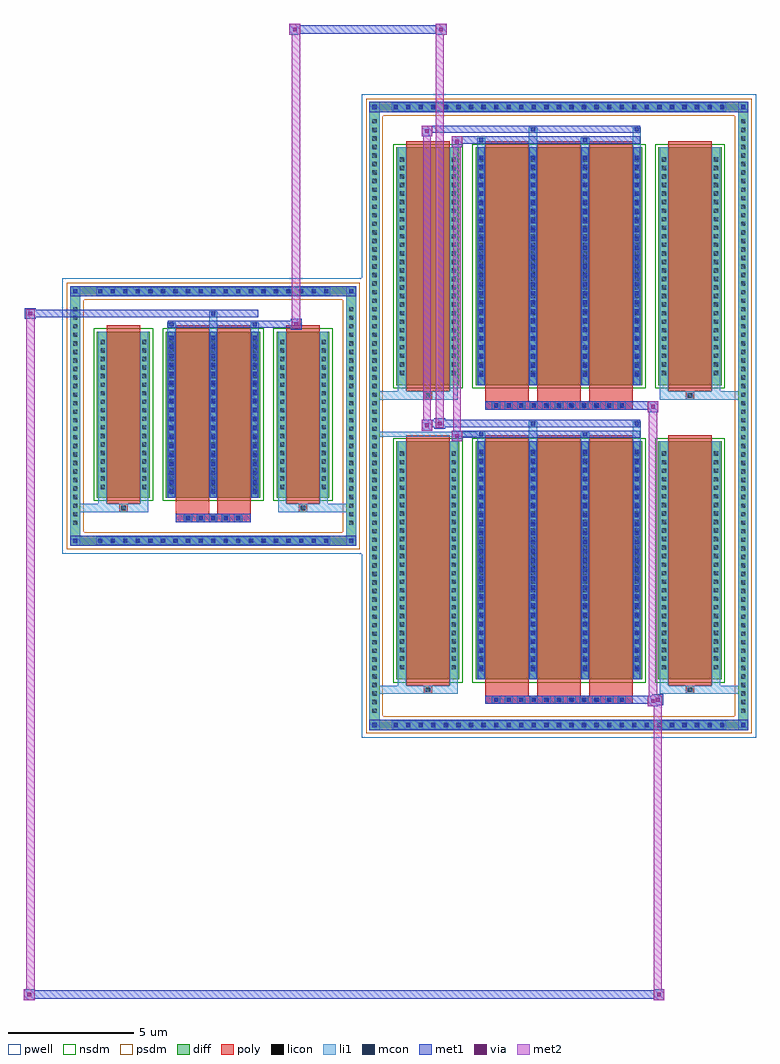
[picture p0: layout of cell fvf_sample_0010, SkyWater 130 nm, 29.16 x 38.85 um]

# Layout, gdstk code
import gdstk
lib = gdstk.Library(unit=1e-6, precision=1e-09)
def R(c, l, rs):  # rectangles x0, y0, x1, y1
    for r in rs: c.add(gdstk.rectangle(r[:2], r[2:], *l))
def A(c, l, x, y, w, h, nx, ny, dx, dy):  # array of equal rectangles
    R(c, l, [(x+i*dx, y+j*dy, x+i*dx+w, y+j*dy+h) for i in range(nx) for j in range(ny)])
def P(c, l, *ps):  # polygons
    for p in ps: c.add(gdstk.Polygon(p, *l))
pwell = (64, 44)
diff = (65, 20)
poly = (66, 20)
licon = (66, 44)
li1 = (67, 20)
mcon = (67, 44)
met1 = (68, 20)
via = (68, 44)
met2 = (69, 20)
nsdm = (93, 44)
psdm = (94, 20)

fvf_sample_0010 = lib.new_cell('fvf_sample_0010')
R(fvf_sample_0010, pwell, [(5.907,-12.812,21.619,12.812), (-6.007,-5.478,6.007,5.478)])
A(fvf_sample_0010, diff, 7.058, -12.502, 0.41, 0.41, 27, 2, 0.5, 24.594)
A(fvf_sample_0010, diff, 6.217, -11.935, 0.41, 0.41, 1, 70, 0, 0.34)
A(fvf_sample_0010, diff, 20.899, -11.935, 0.41, 0.41, 1, 70, 0, 0.34)
A(fvf_sample_0010, diff, -4.705, -5.168, 0.41, 0.41, 19, 2, 0.5, 9.926)
A(fvf_sample_0010, diff, -5.697, -4.455, 0.41, 0.41, 1, 26, 0, 0.34)
A(fvf_sample_0010, diff, 5.287, -4.455, 0.41, 0.41, 1, 26, 0, 0.34)
R(fvf_sample_0010, diff, [(7.058,-12.502,20.468,-12.092), (6.217,-11.935,6.627,11.935), (20.899,-11.935,21.309,11.935), (7.288,-10.481,9.802,-1.015), (10.442,-10.481,17.084,-1.015), (17.724,-10.481,20.238,-1.015), (-4.705,-5.168,4.705,-4.758), (-5.697,-4.455,-5.287,4.455), (5.287,-4.455,5.697,4.455), (-4.627,-3.247,-2.521,3.363), (-1.881,-3.247,1.881,3.363), (2.521,-3.247,4.627,3.363), (7.288,1.231,9.802,10.697), (10.442,1.231,17.084,10.697), (17.724,1.231,20.238,10.697), (-4.705,4.758,4.705,5.168), (7.058,12.092,20.468,12.502)])
P(fvf_sample_0010, diff, [(5.697,5.168),(-5.697,5.168),(-5.697,-4.758),(-5.287,-4.758),(-5.287,4.758),(5.287,4.758),(5.287,-4.758),(-5.287,-4.758),(-5.697,-4.758),(-5.697,-5.168),(5.697,-5.168)],
  [(21.309,12.502),(6.217,12.502),(6.217,-12.092),(6.627,-12.092),(6.627,12.092),(20.899,12.092),(20.899,-12.092),(6.627,-12.092),(6.217,-12.092),(6.217,-12.502),(21.309,-12.502)])
A(fvf_sample_0010, poly, 11.098, -11.462, 0.33, 0.33, 11, 2, 0.5, 11.712)
A(fvf_sample_0010, poly, 10.832, -11.132, 1.734, 0.401, 3, 2, 2.064, 11.712)
A(fvf_sample_0010, poly, 10.832, -10.731, 1.734, 9.966, 3, 2, 2.064, 11.712)
A(fvf_sample_0010, poly, -1.165, -4.228, 0.33, 0.33, 5, 1, 0.5, 0)
R(fvf_sample_0010, poly, [(10.832,-11.462,16.694,-11.132), (8.38,-11.061,8.71,-10.731), (8.38,-11.061,8.71,-10.731), (18.816,-11.061,19.146,-10.731), (18.816,-11.061,19.146,-10.731), (7.678,-10.731,9.412,-0.765), (18.114,-10.731,19.848,-0.765), (-1.491,-4.228,1.491,-3.898), (-1.491,-3.898,-0.165,-3.497), (0.165,-3.898,1.491,-3.497), (-3.739,-3.827,-3.409,-3.497), (-3.739,-3.827,-3.409,-3.497), (3.409,-3.827,3.739,-3.497), (3.409,-3.827,3.739,-3.497), (-4.237,-3.497,-2.911,3.613), (-1.491,-3.497,-0.165,3.613), (0.165,-3.497,1.491,3.613), (2.911,-3.497,4.237,3.613), (10.832,0.25,16.694,0.58), (8.38,0.651,8.71,0.981), (8.38,0.651,8.71,0.981), (18.816,0.651,19.146,0.981), (18.816,0.651,19.146,0.981), (7.678,0.981,9.412,10.947), (18.114,0.981,19.848,10.947)])
A(fvf_sample_0010, licon, 7.178, -12.382, 0.17, 0.17, 27, 2, 0.5, 24.594)
A(fvf_sample_0010, licon, 6.337, -11.815, 0.17, 0.17, 1, 70, 0, 0.34)
A(fvf_sample_0010, licon, 21.019, -11.815, 0.17, 0.17, 1, 70, 0, 0.34)
A(fvf_sample_0010, licon, 11.178, -11.382, 0.17, 0.17, 11, 2, 0.5, 11.712)
A(fvf_sample_0010, licon, 7.428, -10.083, 0.17, 0.17, 1, 26, 0, 0.34)
A(fvf_sample_0010, licon, 9.492, -10.083, 0.17, 0.17, 1, 26, 0, 0.34)
A(fvf_sample_0010, licon, 10.582, -10.083, 0.17, 0.17, 4, 26, 2.064, 0.34)
A(fvf_sample_0010, licon, 17.864, -10.083, 0.17, 0.17, 1, 26, 0, 0.34)
A(fvf_sample_0010, licon, 19.928, -10.083, 0.17, 0.17, 1, 26, 0, 0.34)
A(fvf_sample_0010, licon, -4.585, -5.048, 0.17, 0.17, 19, 2, 0.5, 9.926)
A(fvf_sample_0010, licon, -5.577, -4.335, 0.17, 0.17, 1, 26, 0, 0.34)
A(fvf_sample_0010, licon, 5.407, -4.335, 0.17, 0.17, 1, 26, 0, 0.34)
A(fvf_sample_0010, licon, -1.085, -4.148, 0.17, 0.17, 5, 1, 0.5, 0)
A(fvf_sample_0010, licon, -4.487, -2.917, 0.17, 0.17, 1, 18, 0, 0.34)
A(fvf_sample_0010, licon, -2.831, -2.917, 0.17, 0.17, 1, 18, 0, 0.34)
A(fvf_sample_0010, licon, -1.741, -2.917, 0.17, 0.17, 3, 18, 1.656, 0.34)
A(fvf_sample_0010, licon, 2.661, -2.917, 0.17, 0.17, 1, 18, 0, 0.34)
A(fvf_sample_0010, licon, 4.317, -2.917, 0.17, 0.17, 1, 18, 0, 0.34)
A(fvf_sample_0010, licon, 7.428, 1.629, 0.17, 0.17, 1, 26, 0, 0.34)
A(fvf_sample_0010, licon, 9.492, 1.629, 0.17, 0.17, 1, 26, 0, 0.34)
A(fvf_sample_0010, licon, 10.582, 1.629, 0.17, 0.17, 4, 26, 2.064, 0.34)
A(fvf_sample_0010, licon, 17.864, 1.629, 0.17, 0.17, 1, 26, 0, 0.34)
A(fvf_sample_0010, licon, 19.928, 1.629, 0.17, 0.17, 1, 26, 0, 0.34)
R(fvf_sample_0010, licon, [(8.46,-10.981,8.63,-10.811), (18.896,-10.981,19.066,-10.811), (-3.659,-3.747,-3.489,-3.577), (3.489,-3.747,3.659,-3.577), (8.46,0.731,8.63,0.901), (18.896,0.731,19.066,0.901)])
A(fvf_sample_0010, li1, 7.098, -12.462, 0.33, 0.33, 27, 2, 0.5, 24.594)
A(fvf_sample_0010, li1, 6.257, -11.895, 0.33, 0.33, 1, 70, 0, 0.34)
A(fvf_sample_0010, li1, 20.939, -11.895, 0.33, 0.33, 1, 70, 0, 0.34)
A(fvf_sample_0010, li1, 11.098, -11.462, 0.33, 0.33, 11, 2, 0.5, 11.712)
A(fvf_sample_0010, li1, 10.502, -10.481, 0.33, 9.466, 4, 2, 2.064, 11.712)
A(fvf_sample_0010, li1, 7.348, -10.163, 0.33, 0.33, 1, 26, 0, 0.34)
A(fvf_sample_0010, li1, 9.412, -10.163, 0.33, 0.33, 1, 26, 0, 0.34)
A(fvf_sample_0010, li1, 10.502, -10.163, 0.33, 0.33, 4, 26, 2.064, 0.34)
A(fvf_sample_0010, li1, 17.784, -10.163, 0.33, 0.33, 1, 26, 0, 0.34)
A(fvf_sample_0010, li1, 19.848, -10.163, 0.33, 0.33, 1, 26, 0, 0.34)
A(fvf_sample_0010, li1, 10.582, -10.153, 0.17, 0.17, 4, 25, 2.064, 0.36)
A(fvf_sample_0010, li1, 10.582, -10.153, 0.17, 8.81, 4, 2, 2.064, 11.712)
A(fvf_sample_0010, li1, -4.665, -5.128, 0.33, 0.33, 19, 2, 0.5, 9.926)
A(fvf_sample_0010, li1, -5.657, -4.415, 0.33, 0.33, 1, 26, 0, 0.34)
A(fvf_sample_0010, li1, 5.327, -4.415, 0.33, 0.33, 1, 26, 0, 0.34)
A(fvf_sample_0010, li1, -1.165, -4.228, 0.33, 0.33, 5, 1, 0.5, 0)
A(fvf_sample_0010, li1, -1.821, -3.247, 0.33, 6.61, 3, 1, 1.656, 0)
A(fvf_sample_0010, li1, -1.741, -3.087, 0.17, 0.17, 3, 18, 1.656, 0.36)
A(fvf_sample_0010, li1, -1.741, -3.087, 0.17, 6.29, 3, 1, 1.656, 0)
A(fvf_sample_0010, li1, -4.567, -2.997, 0.33, 0.33, 1, 18, 0, 0.34)
A(fvf_sample_0010, li1, -2.911, -2.997, 0.33, 0.33, 1, 18, 0, 0.34)
A(fvf_sample_0010, li1, -1.821, -2.997, 0.33, 0.33, 3, 18, 1.656, 0.34)
A(fvf_sample_0010, li1, 2.581, -2.997, 0.33, 0.33, 1, 18, 0, 0.34)
A(fvf_sample_0010, li1, 4.237, -2.997, 0.33, 0.33, 1, 18, 0, 0.34)
A(fvf_sample_0010, li1, 7.348, 1.549, 0.33, 0.33, 1, 26, 0, 0.34)
A(fvf_sample_0010, li1, 9.412, 1.549, 0.33, 0.33, 1, 26, 0, 0.34)
A(fvf_sample_0010, li1, 10.502, 1.549, 0.33, 0.33, 4, 26, 2.064, 0.34)
A(fvf_sample_0010, li1, 17.784, 1.549, 0.33, 0.33, 1, 26, 0, 0.34)
A(fvf_sample_0010, li1, 19.848, 1.549, 0.33, 0.33, 1, 26, 0, 0.34)
A(fvf_sample_0010, li1, 10.582, 1.559, 0.17, 0.17, 4, 25, 2.064, 0.36)
R(fvf_sample_0010, li1, [(6.217,-12.502,6.627,-12.092), (20.899,-12.502,21.309,-12.092), (7.098,-12.462,20.428,-12.132), (6.337,-12.382,6.507,-12.212), (6.337,-12.382,6.507,-12.212), (21.019,-12.382,21.189,-12.212), (21.019,-12.382,21.189,-12.212), (6.217,-12.092,6.627,12.092), (20.899,-12.092,21.309,12.092), (6.217,-11.061,8.38,-10.731), (7.348,-11.061,7.678,-10.481), (7.348,-11.061,8.38,-10.731), (8.38,-11.061,8.71,-10.731), (8.71,-11.061,9.742,-10.731), (9.412,-11.061,9.742,-10.481), (17.784,-11.061,18.114,-10.481), (17.784,-11.061,18.816,-10.731), (18.816,-11.061,19.146,-10.731), (18.816,-11.061,21.309,-10.731), (19.146,-11.061,20.178,-10.731), (19.848,-11.061,20.178,-10.481), (7.348,-10.481,7.678,-1.015), (9.412,-10.481,9.742,-1.015), (17.784,-10.481,18.114,-1.015), (19.848,-10.481,20.178,-1.015), (-5.697,-5.168,-5.287,-4.758), (5.287,-5.168,5.697,-4.758), (-4.665,-5.128,4.665,-4.798), (-5.577,-5.048,-5.407,-4.878), (-5.577,-5.048,-5.407,-4.878), (5.407,-5.048,5.577,-4.878), (5.407,-5.048,5.577,-4.878), (-5.697,-4.758,-5.287,4.758), (5.287,-4.758,5.697,4.758), (-5.697,-3.827,-3.739,-3.497), (-4.567,-3.827,-3.739,-3.497), (-4.567,-3.827,-4.237,-3.247), (-3.739,-3.827,-3.409,-3.497), (-3.409,-3.827,-2.581,-3.497), (-2.911,-3.827,-2.581,-3.247), (2.581,-3.827,3.409,-3.497), (2.581,-3.827,2.911,-3.247), (3.409,-3.827,3.739,-3.497), (3.409,-3.827,5.697,-3.497), (3.739,-3.827,4.567,-3.497), (4.237,-3.827,4.567,-3.247), (-4.567,-3.247,-4.237,3.363), (-2.911,-3.247,-2.581,3.363), (2.581,-3.247,2.911,3.363), (4.237,-3.247,4.567,3.363), (10.502,-1.015,10.832,-0.64), (12.566,-1.015,12.896,-0.21), (14.63,-1.015,14.96,-0.64), (16.694,-1.015,17.024,-0.21), (10.522,-0.87,10.812,-0.58), (6.217,-0.825,10.522,-0.625), (10.582,-0.81,10.752,-0.64), (10.582,-0.81,10.752,-0.64), (14.71,-0.81,14.88,-0.64), (12.646,-0.38,12.816,-0.21), (16.774,-0.38,16.944,-0.21), (6.217,0.651,8.38,0.981), (7.348,0.651,7.678,1.231), (7.348,0.651,8.38,0.981), (8.38,0.651,8.71,0.981), (8.71,0.651,9.742,0.981), (9.412,0.651,9.742,1.231), (17.784,0.651,18.114,1.231), (17.784,0.651,18.816,0.981), (18.816,0.651,19.146,0.981), (18.816,0.651,21.309,0.981), (19.146,0.651,20.178,0.981), (19.848,0.651,20.178,1.231), (7.348,1.231,7.678,10.697), (9.412,1.231,9.742,10.697), (17.784,1.231,18.114,10.697), (19.848,1.231,20.178,10.697), (-1.821,3.363,-1.491,3.738), (-0.165,3.363,0.165,4.168), (1.491,3.363,1.821,3.738), (-1.741,3.568,-1.571,3.738), (1.571,3.568,1.741,3.738), (-0.085,3.998,0.085,4.168), (-5.697,4.758,-5.287,5.168), (5.287,4.758,5.697,5.168), (-4.665,4.798,4.665,5.128), (-5.577,4.878,-5.407,5.048), (-5.577,4.878,-5.407,5.048), (5.407,4.878,5.577,5.048), (5.407,4.878,5.577,5.048), (10.502,10.697,10.832,11.072), (12.566,10.697,12.896,11.502), (14.63,10.697,14.96,11.072), (16.694,10.697,17.024,11.502), (10.582,10.902,10.752,11.072), (14.71,10.902,14.88,11.072), (12.646,11.332,12.816,11.502), (16.774,11.332,16.944,11.502), (6.217,12.092,6.627,12.502), (20.899,12.092,21.309,12.502), (7.098,12.132,20.428,12.462), (6.337,12.212,6.507,12.382), (6.337,12.212,6.507,12.382), (21.019,12.212,21.189,12.382), (21.019,12.212,21.189,12.382)])
A(fvf_sample_0010, mcon, 7.178, -12.382, 0.17, 0.17, 27, 2, 0.5, 24.594)
A(fvf_sample_0010, mcon, 11.178, -11.382, 0.17, 0.17, 11, 2, 0.5, 11.712)
A(fvf_sample_0010, mcon, 10.582, -10.153, 0.17, 0.17, 4, 25, 2.064, 0.36)
A(fvf_sample_0010, mcon, -4.585, -5.048, 0.17, 0.17, 19, 2, 0.5, 9.926)
A(fvf_sample_0010, mcon, -1.085, -4.148, 0.17, 0.17, 5, 1, 0.5, 0)
A(fvf_sample_0010, mcon, -1.741, -3.087, 0.17, 0.17, 3, 18, 1.656, 0.36)
A(fvf_sample_0010, mcon, 10.582, 1.559, 0.17, 0.17, 4, 25, 2.064, 0.36)
R(fvf_sample_0010, mcon, [(6.337,-12.382,6.507,-12.212), (21.019,-12.382,21.189,-12.212), (-5.577,-5.048,-5.407,-4.878), (5.407,-5.048,5.577,-4.878), (10.582,-0.81,10.752,-0.64), (10.582,-0.81,10.752,-0.64), (14.71,-0.81,14.88,-0.64), (12.646,-0.38,12.816,-0.21), (16.774,-0.38,16.944,-0.21), (-1.741,3.568,-1.571,3.738), (1.571,3.568,1.741,3.738), (-0.085,3.998,0.085,4.168), (-5.577,4.878,-5.407,5.048), (5.407,4.878,5.577,5.048), (10.582,10.902,10.752,11.072), (14.71,10.902,14.88,11.072), (12.646,11.332,12.816,11.502), (16.774,11.332,16.944,11.502), (6.337,12.212,6.507,12.382), (21.019,12.212,21.189,12.382)])
A(fvf_sample_0010, met1, 7.118, -12.442, 0.29, 0.29, 27, 2, 0.5, 24.594)
A(fvf_sample_0010, met1, 11.118, -11.442, 0.29, 0.29, 11, 2, 0.5, 11.712)
A(fvf_sample_0010, met1, 10.522, -10.481, 0.29, 9.466, 4, 2, 2.064, 11.712)
A(fvf_sample_0010, met1, 10.522, -10.213, 0.29, 0.29, 4, 25, 2.064, 0.36)
A(fvf_sample_0010, met1, -4.645, -5.108, 0.29, 0.29, 19, 2, 0.5, 9.926)
A(fvf_sample_0010, met1, -1.145, -4.208, 0.29, 0.29, 5, 1, 0.5, 0)
A(fvf_sample_0010, met1, -1.801, -3.247, 0.29, 6.61, 3, 1, 1.656, 0)
A(fvf_sample_0010, met1, -1.801, -3.147, 0.29, 0.29, 3, 18, 1.656, 0.36)
A(fvf_sample_0010, met1, 10.522, 1.499, 0.29, 0.29, 4, 25, 2.064, 0.36)
R(fvf_sample_0010, met1, [(-7.544,-23.249,-7.114,-22.819), (17.529,-23.249,17.959,-22.819), (-7.544,-23.199,17.959,-22.869), (-7.544,-22.869,-7.114,-22.819), (17.529,-22.869,17.959,-22.819), (6.217,-12.502,6.627,-12.092), (6.217,-12.502,6.627,-12.092), (6.627,-12.502,20.899,-12.092), (20.899,-12.502,21.309,-12.092), (20.899,-12.502,21.309,-12.092), (6.277,-12.442,6.567,-12.152), (20.959,-12.442,21.249,-12.152), (17.294,-11.562,17.724,-11.132), (17.479,-11.512,17.909,-11.082), (10.832,-11.462,16.694,-11.132), (16.694,-11.462,17.479,-11.132), (16.694,-11.462,17.724,-11.132), (-5.697,-5.168,-5.287,-4.758), (-5.697,-5.168,-5.287,-4.758), (-5.287,-5.168,5.287,-4.758), (5.287,-5.168,5.697,-4.758), (5.287,-5.168,5.697,-4.758), (-5.637,-5.108,-5.347,-4.818), (5.347,-5.108,5.637,-4.818), (-1.491,-4.228,1.491,-3.898), (9.492,-1.01,9.922,-0.58), (9.492,-0.87,10.522,-0.58), (10.522,-0.87,10.812,-0.58), (10.522,-0.87,10.812,-0.58), (10.522,-0.87,17.004,-0.58), (14.65,-0.87,14.94,-0.58), (8.292,-0.58,8.722,-0.15), (8.807,-0.51,9.237,-0.08), (8.292,-0.44,10.522,-0.15), (9.237,-0.44,10.522,-0.15), (10.522,-0.44,17.004,-0.15), (12.586,-0.44,12.876,-0.15), (16.714,-0.44,17.004,-0.15), (17.294,0.15,17.724,0.58), (10.832,0.25,16.694,0.58), (16.694,0.25,17.724,0.58), (3.086,3.438,3.516,3.868), (-1.801,3.508,-1.511,3.798), (-1.801,3.508,1.801,3.798), (1.511,3.508,1.801,3.798), (1.801,3.508,3.086,3.798), (-7.494,3.868,-7.064,4.298), (-7.064,3.938,-1.801,4.228), (-1.801,3.938,1.801,4.228), (-0.145,3.938,0.145,4.228), (-5.697,4.758,-5.287,5.168), (-5.697,4.758,-5.287,5.168), (-5.287,4.758,5.287,5.168), (5.287,4.758,5.697,5.168), (5.287,4.758,5.697,5.168), (-5.637,4.818,-5.347,5.108), (5.347,4.818,5.637,5.108), (9.492,10.702,9.922,11.132), (9.492,10.842,10.522,11.132), (10.522,10.842,10.812,11.132), (10.522,10.842,17.004,11.132), (14.65,10.842,14.94,11.132), (8.292,11.132,8.722,11.562), (8.292,11.272,10.522,11.562), (10.522,11.272,17.004,11.562), (12.586,11.272,12.876,11.562), (16.714,11.272,17.004,11.562), (6.217,12.092,6.627,12.502), (6.217,12.092,6.627,12.502), (6.627,12.092,20.899,12.502), (20.899,12.092,21.309,12.502), (20.899,12.092,21.309,12.502), (6.277,12.152,6.567,12.442), (20.959,12.152,21.249,12.442), (3.036,15.175,3.466,15.605), (8.857,15.175,9.287,15.605), (3.036,15.225,9.287,15.555), (3.036,15.555,3.466,15.605), (8.857,15.555,9.287,15.605)])
R(fvf_sample_0010, via, [(-7.404,-23.109,-7.254,-22.959), (17.669,-23.109,17.819,-22.959), (17.434,-11.422,17.584,-11.272), (17.619,-11.372,17.769,-11.222), (9.632,-0.87,9.782,-0.72), (8.432,-0.44,8.582,-0.29), (8.947,-0.37,9.097,-0.22), (17.434,0.29,17.584,0.44), (3.226,3.578,3.376,3.728), (-7.354,4.008,-7.204,4.158), (9.632,10.842,9.782,10.992), (8.432,11.272,8.582,11.422), (3.176,15.315,3.326,15.465), (8.997,15.315,9.147,15.465)])
R(fvf_sample_0010, met2, [(-7.544,-23.249,-7.114,-22.819), (-7.444,-23.249,-7.114,3.918), (17.529,-23.249,17.959,-22.819), (17.529,-23.249,17.859,-11.462), (-7.494,-23.199,-7.164,-22.869), (17.579,-23.199,17.909,-22.869), (17.294,-11.562,17.724,-11.132), (17.344,-11.562,17.674,0.58), (17.674,-11.562,17.724,-11.132), (17.344,-11.512,17.674,-11.182), (17.529,-11.462,17.859,-11.132), (9.492,-1.01,9.922,-0.58), (9.562,-1.01,9.852,11.132), (9.852,-1.01,9.922,-0.58), (9.542,-0.96,9.872,-0.63), (8.292,-0.58,8.722,-0.15), (8.362,-0.58,8.652,11.562), (8.652,-0.58,8.722,-0.15), (8.342,-0.53,8.672,-0.2), (8.857,-0.46,9.187,-0.13), (8.857,-0.13,9.187,15.605), (17.294,0.15,17.724,0.58), (17.674,0.15,17.724,0.58), (17.344,0.2,17.674,0.53), (3.136,3.488,3.466,3.818), (3.136,3.818,3.466,15.605), (-7.444,3.918,-7.114,4.248), (9.492,10.702,9.922,11.132), (9.852,10.702,9.922,11.132), (9.542,10.752,9.872,11.082), (8.292,11.132,8.722,11.562), (8.652,11.132,8.722,11.562), (8.342,11.182,8.672,11.512), (3.036,15.175,3.466,15.605), (8.857,15.175,9.287,15.605), (3.086,15.225,3.416,15.555), (8.907,15.225,9.237,15.555)])
R(fvf_sample_0010, nsdm, [(7.158,-10.611,9.932,-0.885), (10.312,-10.611,17.214,-0.885), (17.594,-10.611,20.368,-0.885), (-4.757,-3.377,-2.391,3.493), (-2.011,-3.377,2.011,3.493), (2.391,-3.377,4.757,3.493), (7.158,1.101,9.932,10.827), (10.312,1.101,17.214,10.827), (17.594,1.101,20.368,10.827)])
P(fvf_sample_0010, psdm, [(5.827,5.298),(-5.827,5.298),(-5.827,-4.628),(-5.157,-4.628),(-5.157,4.628),(5.157,4.628),(5.157,-4.628),(-5.157,-4.628),(-5.827,-4.628),(-5.827,-5.298),(5.827,-5.298)],
  [(21.439,12.632),(6.087,12.632),(6.087,-11.962),(6.757,-11.962),(6.757,11.962),(20.769,11.962),(20.769,-11.962),(6.757,-11.962),(6.087,-11.962),(6.087,-12.632),(21.439,-12.632)])

lib.write_gds('fvf_sample_0010.gds')
